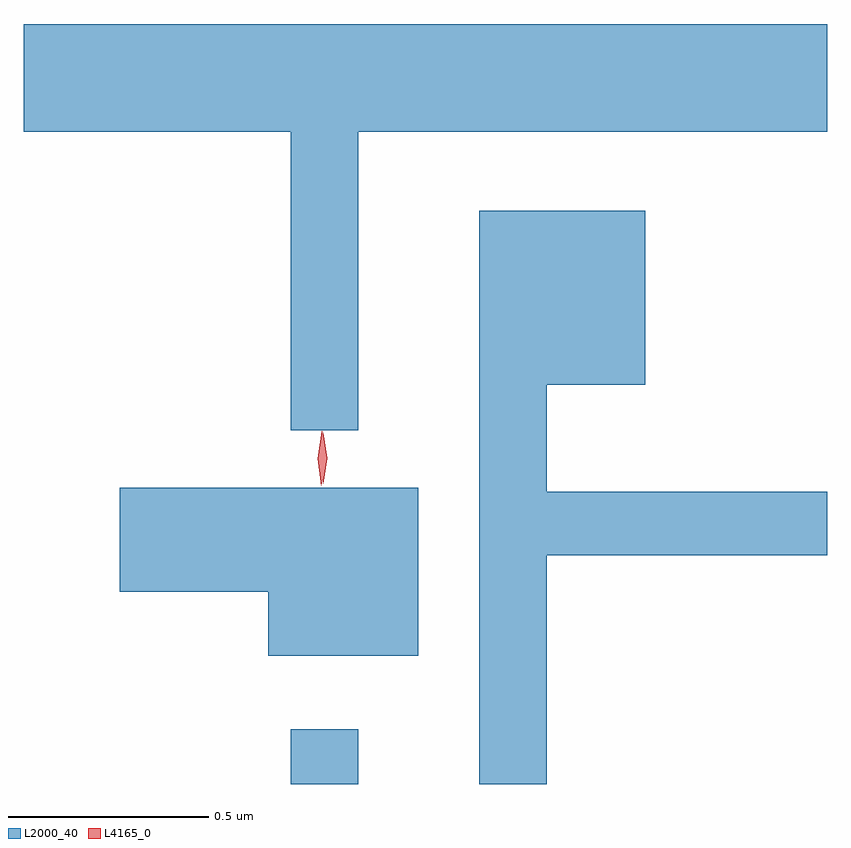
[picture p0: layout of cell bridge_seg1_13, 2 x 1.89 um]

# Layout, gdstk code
import gdstk
lib = gdstk.Library(unit=1e-6, precision=1e-09)
def R(c, l, rs):  # rectangles x0, y0, x1, y1
    for r in rs: c.add(gdstk.rectangle(r[:2], r[2:], *l))
def P(c, l, *ps):  # polygons
    for p in ps: c.add(gdstk.Polygon(p, *l))
L2000_40 = (2000, 40)
L4165_0 = (4165, 0)

bridge_seg1_13 = lib.new_cell('bridge_seg1_13')
R(bridge_seg1_13, L2000_40, [(1566.591,842.452,1566.759,842.588)])
P(bridge_seg1_13, L2000_40, [(1566.759,844.076),(1567.927,844.076),(1567.927,844.344),(1565.927,844.344),(1565.927,844.076),(1566.591,844.076),(1566.591,843.333),(1566.759,843.333)],
  [(1567.229,843.021),(1567.927,843.021),(1567.927,843.179),(1567.229,843.179),(1567.229,843.446),(1567.474,843.446),(1567.474,843.879),(1567.061,843.879),(1567.061,842.452),(1567.229,842.452)],
  [(1566.909,843.189),(1566.166,843.189),(1566.166,842.931),(1566.536,842.931),(1566.536,842.771),(1566.909,842.771)])
P(bridge_seg1_13, L4165_0, [(1566.667,843.194),(1566.659,843.262),(1566.669,843.33),(1566.669,843.33),(1566.67,843.33),(1566.678,843.262),(1566.668,843.194),(1566.668,843.194)],
  [(1566.672,843.2),(1566.672,843.2),(1566.662,843.263),(1566.672,843.326),(1566.672,843.327),(1566.673,843.326),(1566.682,843.263),(1566.673,843.2)])

lib.write_gds('bridge_seg1_13.gds')
